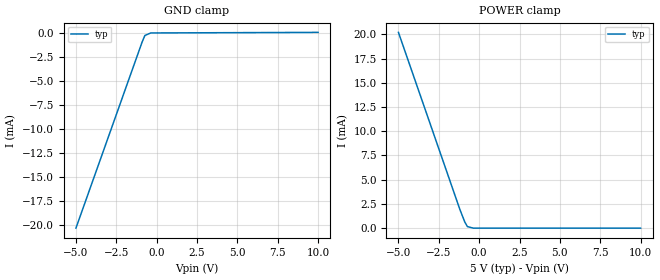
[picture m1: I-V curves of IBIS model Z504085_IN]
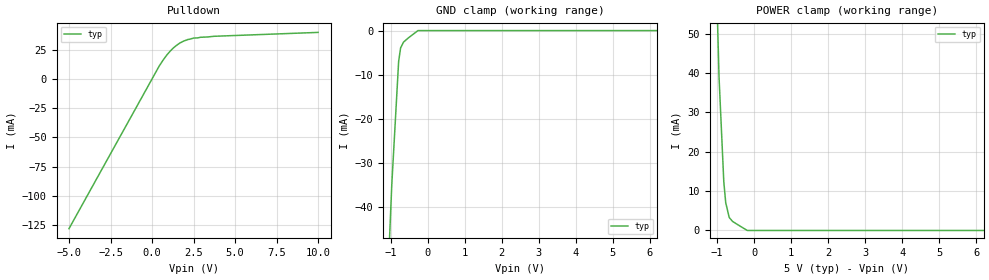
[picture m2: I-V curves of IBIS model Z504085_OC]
| YOU ARE ONLY AUTHORIZED TO USE THIS SOFTWARE
| ACCORDING TO LICENSOR'S LICENSE RESTRICTIONS.
[IBIS Ver] 3.1
[File Name] mc54hc266j.ibs
[File Rev] 2.0
[Source] Measured and created by ICX Technology
[Date] Friday 7/14/00 9:08:06 AM
[Copyright]
| (C) COPYRIGHT 1993-2000
| MENTOR GRAPHICS CORPORATION
| ICX STANDARD LIBRARY, ICX PROJECT MODELING,
| ICX CUSTOM MODELING, ICX VENDOR MODEL
| ALL RIGHTS RESERVED.
| THE FOLLOWING ARE TRADEMARKS OR SERVICE MARKS OF
| MENTOR GRAPHICS CORPORATION:ICX (R), ICX STANDARD
| LIBRARY(R), ICX PROJECT MODELING(R), ICX CUSTOM
| MODELING(R), qualityIBIS(TM), MODELVIEWER(TM),
| AND MODELEDITOR(TM)
| ALL COPIES OF SOFTWARE, INCLUDING BUT NOT LIMITED TO
| ANY MODIFICATIONS, ENHANCEMENTS OR DERIVATIVE WORKS,
| MUST CONTAIN ALL MENTOR GRAPHICS CORPORATION'S
| NOTICES AND LEGENDS, INCLUDING THOSE EMBEDDED IN
| SOFTWARE AND THOSE AFFIXED TO SOFTWARE MEDIUM
| AND CONTAINER, AS RECEIVED FROM MENTOR GRAPHICS
| CORPORATION.
|  ZAP Model Builder 2.7
[Component] MC54HC266J
[Manufacturer] OnSemiconductor
[Package]
| variable   typ   min   max
R_pkg  .21ohms NA NA
L_pkg  4.543nH NA NA
C_pkg  1.8pF NA NA
[Pin] signal_name  model_name  R_pin  L_pin C_pin
1 A Z504085_IN .22 6.757n 2.434p
2 B Z504085_IN .212 4.757n 1.941p
3 Y Z504085_OC .204 3.257n 1.448p
4 Y Z504085_OC .196 2.257n .955p
5 A Z504085_IN .204 3.257n 1.448p
6 B Z504085_IN .212 4.757n 1.941p
7 GND GND .22 6.757n 2.434p
8 A Z504085_IN .22 6.757n 2.434p
9 B Z504085_IN .212 4.757n 1.941p
10 Y Z504085_OC .204 3.257n 1.448p
11 Y Z504085_OC .196 2.257n .955p
12 A Z504085_IN .204 3.257n 1.448p
13 B Z504085_IN .212 4.757n 1.941p
14 VCC POWER .22 6.757n 2.434p
| Models and submodels in the file (2): Z504085_IN (Input), Z504085_OC (Open_sink)
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| (C) COPYRIGHT 1993-2000
| MENTOR GRAPHICS CORPORATION
| ICX STANDARD LIBRARY, ICX PROJECT MODELING,
| ICX CUSTOM MODELING, ICX VENDOR MODEL
| ALL RIGHTS RESERVED.
| THE FOLLOWING ARE TRADEMARKS OR SERVICE MARKS OF
| MENTOR GRAPHICS CORPORATION:ICX (R), ICX STANDARD
| LIBRARY(R), ICX PROJECT MODELING(R), ICX CUSTOM
| MODELING(R), qualityIBIS(TM), MODELVIEWER(TM),
| AND MODELEDITOR(TM)
| ALL COPIES OF SOFTWARE, INCLUDING BUT NOT LIMITED TO
| ANY MODIFICATIONS, ENHANCEMENTS OR DERIVATIVE WORKS,
| MUST CONTAIN ALL MENTOR GRAPHICS CORPORATION'S
| NOTICES AND LEGENDS, INCLUDING THOSE EMBEDDED IN
| SOFTWARE AND THOSE AFFIXED TO SOFTWARE MEDIUM
| AND CONTAINER, AS RECEIVED FROM MENTOR GRAPHICS
| CORPORATION.
| Model Application Version 1.89 2/18/99.
[Model] Z504085_IN
Model_type Input
Vinl = 1.000V
Vinh = 3.500V
C_comp 4.000pF NA NA
| variable typ   min   max
[Voltage Range] 5.000V NA NA
[GND Clamp Reference] 0.000V NA NA
[POWER Clamp Reference] 5.000V NA NA
[GND Clamp]
-5V       -20.34mA   NA         NA
-897.6mV  -960.7uA   NA         NA
-728.5mV  -287.9uA   NA         NA
-364.3mV  -26uA      NA         NA
10V       34.61uA    NA         NA
[POWER Clamp]
-5V       20.21mA    NA         NA
-1.194V   1.927mA    NA         NA
-885mV    617.9uA    NA         NA
-728mV    160.9uA    NA         NA
-364mV    0A         NA         NA
10V       0A         NA         NA
| (C) COPYRIGHT 1993-2000
| MENTOR GRAPHICS CORPORATION
| ICX STANDARD LIBRARY, ICX PROJECT MODELING,
| ICX CUSTOM MODELING, ICX VENDOR MODEL
| ALL RIGHTS RESERVED.
| THE FOLLOWING ARE TRADEMARKS OR SERVICE MARKS OF
| MENTOR GRAPHICS CORPORATION:ICX (R), ICX STANDARD
| LIBRARY(R), ICX PROJECT MODELING(R), ICX CUSTOM
| MODELING(R), qualityIBIS(TM), MODELVIEWER(TM),
| AND MODELEDITOR(TM)
| ALL COPIES OF SOFTWARE, INCLUDING BUT NOT LIMITED TO
| ANY MODIFICATIONS, ENHANCEMENTS OR DERIVATIVE WORKS,
| MUST CONTAIN ALL MENTOR GRAPHICS CORPORATION'S
| NOTICES AND LEGENDS, INCLUDING THOSE EMBEDDED IN
| SOFTWARE AND THOSE AFFIXED TO SOFTWARE MEDIUM
| AND CONTAINER, AS RECEIVED FROM MENTOR GRAPHICS
| CORPORATION.
| Model Application Version 1.89 2/18/99.
[Model] Z504085_OC
Model_type Open_sink
Vref=5.000V
Rref=1.000kohms
Cref=50.00pF
Vmeas=2.500V
C_comp 8.000pF NA NA
| variable typ   min   max
[Voltage Range] 5.000V NA NA
[POWER Clamp Reference] 5.000V NA NA
[Pullup Reference] 5.000V NA NA
[Pulldown Reference] 0.000V NA NA
[GND Clamp Reference] 0.000V NA NA
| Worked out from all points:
|   slope of the pulldown table from 0 to 0.75 V, typ, clamps not added: 42 ohm
|   POWER clamp passes 1 mA (typ) near -0.36 V on its own axis
[GND Clamp]
-5V       -1.079A    NA         NA
-1.239V   -89.91mA   NA         NA
-965.2mV  -34.94mA   NA         NA
-781.2mV  -7.06mA    NA         NA
-727.5mV  -3.928mA   NA         NA
-647.2mV  -2.61mA    NA         NA
-517.5mV  -1.66mA    NA         NA
-258.7mV  0A         NA         NA
10V       0A         NA         NA
[Pulldown]
-5V       -128.3mA   NA         NA
434.8mV   11.28mA    NA         NA
919.7mV   21.19mA    NA         NA
1.455V    28.73mA    NA         NA
1.792V    31.82mA    NA         NA
2.163V    34mA       NA         NA
2.923V    35.89mA    NA         NA
10V       40.06mA    NA         NA
[POWER Clamp]
-5V       1.842A     NA         NA
-1.09V    88.54mA    NA         NA
-948mV    39.08mA    NA         NA
-819mV    12.36mA    NA         NA
-767mV    7.069mA    NA         NA
-673mV    3.299mA    NA         NA
-580mV    2.283mA    NA         NA
-367mV    1.036mA    NA         NA
-183.5mV  0A         NA         NA
10V       0A         NA         NA
[Ramp]
| variable typ min max
dV/dt_r 2.588/1.838n NA NA
dV/dt_f 2.588/1.777n NA NA
R_load = 250.0Ohms
